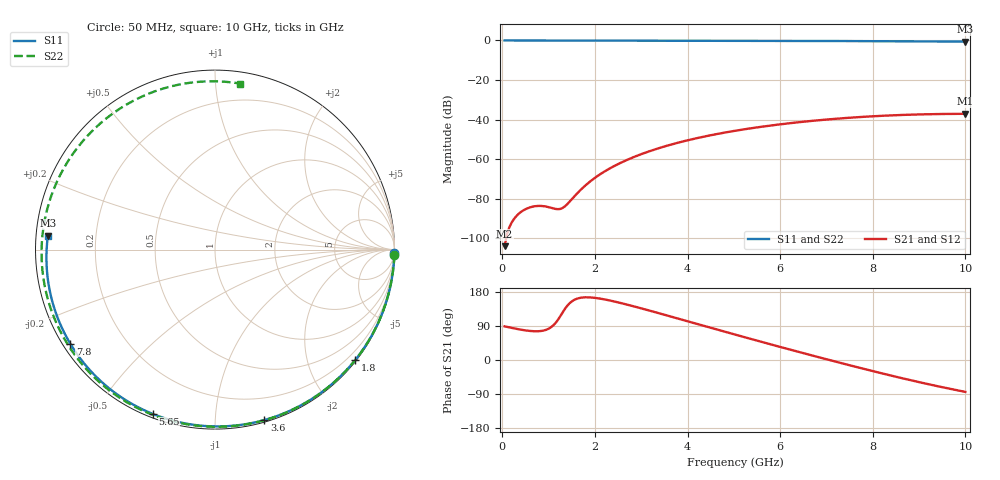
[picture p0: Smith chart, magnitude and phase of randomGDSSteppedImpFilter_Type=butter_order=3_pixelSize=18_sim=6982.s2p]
! freq	dB(S11)	phase(S11)	dB(S12)	phase(S12)
!  dB(S21)	phase(S21)	dB(S22)	phase(S22)
!S-par simulation data
#  GHz  S  DB  R 50
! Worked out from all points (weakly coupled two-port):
!   200 points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, 50 MHz to 10 GHz, reference 50 ohm
!   highest |S21| = -37.07 dB at 10 GHz (marker M1); lowest = -103.9 dB at 50 MHz (marker M2)
!   lowest |S11| = -0.6 dB at 10 GHz (marker M3), VSWR 29.39, Z = 1.7 + j2.09 ohm
!   |S11| at or under -10 dB: nowhere
!   |S22| runs from -0.6 to 0.0 dB; largest |S21 - S12| = 0
!   S11 on the Smith chart (normalised r, x): 50 MHz: open; 1.8 GHz: 0.03, -2.89; 3.6 GHz: 0.02, -1.33; 5.65 GHz: 0.02, -0.69; 7.8 GHz: 0.02, -0.30; 10 GHz: 0.03, +0.04
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0.05  -0.00 -1.1  -103.93 88.8  -103.93 88.8  -0.00 -1.6
0.4  -0.01 -8.6  -86.70 80.1  -86.70 80.1  -0.02 -12.9
0.75  -0.02 -16.1  -83.63 75.8  -83.63 75.8  -0.03 -24.0
1.5  -0.04 -31.9  -80.25 154.6  -80.25 154.6  -0.06 -47.4
1.75  -0.05 -37.1  -74.19 165.1  -74.19 165.1  -0.07 -55.0
1.8  -0.05 -38.2  -73.14 165.4  -73.14 165.4  -0.07 -56.5
2.1  -0.06 -44.3  -67.80 162.3  -67.80 162.3  -0.08 -65.4
2.45  -0.07 -51.4  -63.05 153.5  -63.05 153.5  -0.09 -75.5
2.9  -0.08 -60.3  -58.34 139.6  -58.34 139.6  -0.11 -88.2
3.4  -0.09 -70.0  -54.28 122.9  -54.28 122.9  -0.13 -101.8
3.6  -0.10 -73.8  -52.90 116.0  -52.90 116.0  -0.13 -107.1
4.3  -0.12 -86.8  -48.86 91.9  -48.86 91.9  -0.16 -125.2
5.05  -0.15 -100.3  -45.54 66.3  -45.54 66.3  -0.20 -144.1
5.65  -0.18 -110.8  -43.44 46.1  -43.44 46.1  -0.24 -158.9
6.2  -0.22 -120.2  -41.83 27.9  -41.83 27.9  -0.28 -172.6
6.7  -0.25 -128.6  -40.60 11.6  -40.60 11.6  -0.31 174.9
7.25  -0.29 -137.8  -39.48 -6.0  -39.48 -6.0  -0.36 160.8
7.8  -0.34 -147.0  -38.58 -23.2  -38.58 -23.2  -0.40 146.2
8.35  -0.39 -156.2  -37.90 -39.8  -37.90 -39.8  -0.45 131.0
9.2  -0.49 -170.7  -37.27 -63.9  -37.27 -63.9  -0.52 106.2
9.6  -0.54 -177.7  -37.12 -74.3  -37.12 -74.3  -0.55 94.0
10  -0.59 175.2  -37.07 -84.1  -37.07 -84.1  -0.58 81.5
